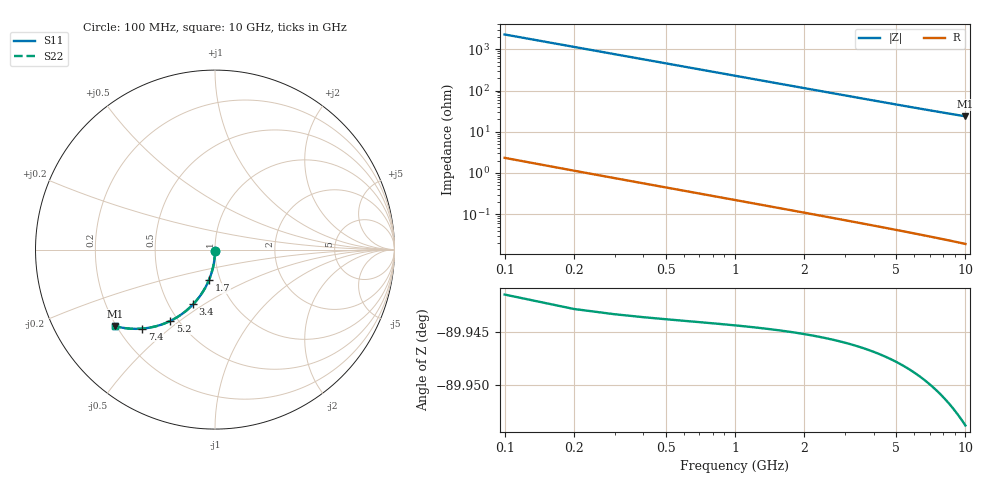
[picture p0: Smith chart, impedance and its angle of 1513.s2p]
# Hz S RI R 50.00
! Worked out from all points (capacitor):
!   100 points, 100 MHz to 10 GHz, reference 50 ohm
!   read as one part in shunt: C = 696 fF near 100 MHz
!   lowest |Z| = 23.8 ohm at 10 GHz (marker M1)
!   S11 on the Smith chart (normalised r, x): 100 MHz: 1.00, -0.02; 1.7 GHz: 0.89, -0.31; 3.4 GHz: 0.66, -0.45; 5.2 GHz: 0.46, -0.46; 7.4 GHz: 0.30, -0.41; 10 GHz: 0.19, -0.33
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1e8  1.08e-05 -0.0103  0.9997 -0.0116  0.9997 -0.0116  1.08e-05 -0.0103
2e8  -0.000356 -0.0205  0.9994 -0.0232  0.9994 -0.0232  -0.000356 -0.0205
3e8  -0.000961 -0.0308  0.9987 -0.0348  0.9987 -0.0348  -0.000961 -0.0308
4e8  -0.0018 -0.041  0.9979 -0.0463  0.9979 -0.0463  -0.0018 -0.041
5e8  -0.00288 -0.0512  0.9968 -0.0579  0.9968 -0.0579  -0.00288 -0.0512
6e8  -0.00419 -0.0613  0.9955 -0.0694  0.9955 -0.0694  -0.00419 -0.0613
8e8  -0.00751 -0.0815  0.9921 -0.0922  0.9921 -0.0922  -0.00751 -0.0815
1.1e9  -0.0142 -0.1113  0.9854 -0.126  0.9854 -0.126  -0.0142 -0.1113
1.4e9  -0.0229 -0.1404  0.9767 -0.1591  0.9767 -0.1591  -0.0229 -0.1404
1.7e9  -0.0334 -0.1686  0.966 -0.1914  0.966 -0.1914  -0.0334 -0.1686
1.8e9  -0.0374 -0.1778  0.9621 -0.2019  0.9621 -0.2019  -0.0374 -0.1778
2.1e9  -0.0502 -0.2046  0.9491 -0.2327  0.9491 -0.2327  -0.0502 -0.2046
2.5e9  -0.0699 -0.2384  0.9293 -0.2719  0.9293 -0.2719  -0.0699 -0.2384
2.9e9  -0.092 -0.2697  0.907 -0.3087  0.907 -0.3087  -0.092 -0.2697
3.4e9  -0.1225 -0.3052  0.8762 -0.351  0.8762 -0.351  -0.1225 -0.3052
4.2e9  -0.1762 -0.353  0.8218 -0.4097  0.8218 -0.4097  -0.1762 -0.353
5.1e9  -0.2409 -0.3933  0.7564 -0.4625  0.7564 -0.4625  -0.2409 -0.3933
5.2e9  -0.2482 -0.397  0.749 -0.4675  0.749 -0.4675  -0.2482 -0.397
6.7e9  -0.3564 -0.4333  0.6391 -0.5249  0.6391 -0.5249  -0.3564 -0.4333
7.4e9  -0.4044 -0.44  0.5901 -0.5416  0.5901 -0.5416  -0.4044 -0.44
8.4e9  -0.4685 -0.4407  0.5244 -0.5567  0.5244 -0.5567  -0.4685 -0.4407
1e10  -0.5585 -0.4256  0.4314 -0.5652  0.4314 -0.5652  -0.5585 -0.4256
